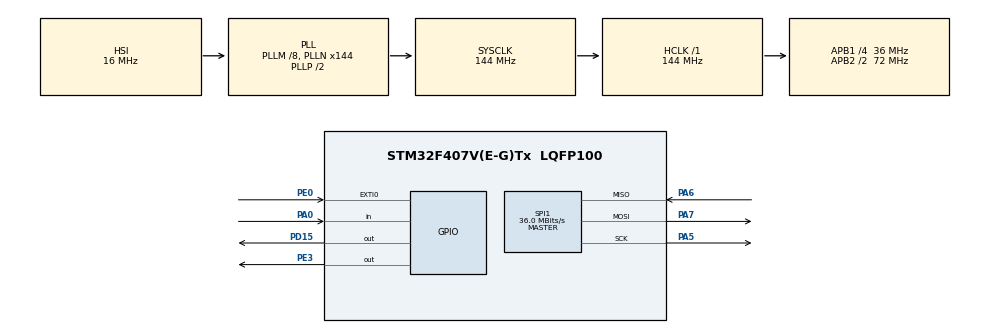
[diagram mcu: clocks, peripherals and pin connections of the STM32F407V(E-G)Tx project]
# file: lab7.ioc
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Mcu.Family=STM32F4
Mcu.Name=STM32F407V(E-G)Tx
Mcu.Package=LQFP100
NVIC.EXTI0_IRQn=true\:0\:0\:false\:false\:true\:true\:true\:true
NVIC.PriorityGroup=NVIC_PRIORITYGROUP_4
PA0-WKUP.Signal=GPIO_Input
PA13.Mode=Serial_Wire
PA13.Signal=SYS_JTMS-SWDIO
PA14.Mode=Serial_Wire
PA14.Signal=SYS_JTCK-SWCLK
PA5.Mode=Full_Duplex_Master
PA5.Signal=SPI1_SCK
PA6.Mode=Full_Duplex_Master
PA6.Signal=SPI1_MISO
PA7.Mode=Full_Duplex_Master
PA7.Signal=SPI1_MOSI
PD15.Signal=GPIO_Output
PE0.Signal=GPXTI0
PE3.Signal=GPIO_Output
ProjectManager.HeapSize=0x200
ProjectManager.StackSize=0x400
ProjectManager.TargetToolchain=STM32CubeIDE
RCC.48MHZClocksFreq_Value=72000000
RCC.AHBFreq_Value=144000000
RCC.APB1CLKDivider=RCC_HCLK_DIV4
RCC.APB1Freq_Value=36000000
RCC.APB1TimFreq_Value=72000000
RCC.APB2CLKDivider=RCC_HCLK_DIV2
RCC.APB2Freq_Value=72000000
RCC.APB2TimFreq_Value=144000000
RCC.CortexFreq_Value=144000000
RCC.HCLKFreq_Value=144000000
RCC.HSE_VALUE=25000000
RCC.HSI_VALUE=16000000
RCC.LSE_VALUE=32768
RCC.PLLM=8
RCC.PLLN=144
RCC.SYSCLKFreq_VALUE=144000000
RCC.SYSCLKSource=RCC_SYSCLKSOURCE_PLLCLK
RCC.VCOOutputFreq_Value=288000000
SPI1.CalculateBaudRate=36.0 MBits/s
SPI1.Direction=SPI_DIRECTION_2LINES
SPI1.Mode=SPI_MODE_MASTER
SPI1.VirtualType=VM_MASTER
board=custom

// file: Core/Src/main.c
/* USER CODE BEGIN Header */
/**
  ******************************************************************************
  * @file           : main.c
  * @brief          : Main program body
  ******************************************************************************
  * @attention
  *
  * Copyright (c) 2026 STMicroelectronics.
  * All rights reserved.
  *
  * This software is licensed under terms that can be found in the LICENSE file
  * in the root directory of this software component.
  * If no LICENSE file comes with this software, it is provided AS-IS.
  *
  ******************************************************************************
  */
/* USER CODE END Header */
#include "main.h"
#include "spi.h"
#include "gpio.h"

/* USER CODE BEGIN Includes */
#include "MY_LIS3DSH.h"
#include <math.h>
#include <stdbool.h>
/* USER CODE END Includes */

/* USER CODE BEGIN PV */
LIS3DSH_InitTypeDef myAccConfigDef;
LIS3DSH_DataScaled currentData;
LIS3DSH_DataScaled prevData;

volatile uint8_t exti_flag = 0;

// Поріг чутливості (мg). Значення, нижчі за поріг, відсікаються як шумові коливання.
#define NOISE_THRESHOLD 150.0f
/* USER CODE END PV */

void SystemClock_Config(void);

int main(void)
{

  /* MCU Configuration--------------------------------------------------------*/

  /* Reset of all peripherals, Initializes the Flash interface and the Systick. */
  HAL_Init();

  /* Configure the system clock */
  SystemClock_Config();

  /* Initialize all configured peripherals */
  MX_GPIO_Init();
  MX_SPI1_Init();
  /* USER CODE BEGIN 2 */
  // Налаштування параметрів акселерометра
    myAccConfigDef.dataRate = LIS3DSH_DATARATE_25;
    myAccConfigDef.fullScale = LIS3DSH_FULLSCALE_4;
    myAccConfigDef.antiAliasingBW = LIS3DSH_FILTER_BW_50;
    myAccConfigDef.enableAxes = LIS3DSH_XYZ_ENABLE;
    myAccConfigDef.interruptEnable = true;

    // Ініціалізація по SPI1
    LIS3DSH_Init(&hspi1, &myAccConfigDef);

    // Калібрування осей X, Y, Z
    LIS3DSH_X_calibrate(-1000.0, 980.0);
    LIS3DSH_Y_calibrate(-1020.0, 1040.0);
    LIS3DSH_Z_calibrate(-920.0, 1040.0);

    // Отримання початкових вимірів для точки відліку
    prevData = LIS3DSH_GetDataScaled();
  /* USER CODE END 2 */

  /* Infinite loop */
  while (1)
  {
	  if (exti_flag == 1)
	      {
	        exti_flag = 0; // Скидання прапорця переривання

	        // Зчитування свіжих даних прискорення по SPI
	        currentData = LIS3DSH_GetDataScaled();

	        // Алгоритм фільтрації шуму: обрахунок відхилення значень між сусідніми вибірками
	        float deltaX = fabsf(currentData.x - prevData.x);
	        float deltaY = fabsf(currentData.y - prevData.y);
	        float deltaZ = fabsf(currentData.z - prevData.z);
	        float totalDelta = deltaX + deltaY + deltaZ;

	        // Якщо амплітуда переміщення більша за шумові флуктуації
	        if (totalDelta > NOISE_THRESHOLD)
	        {
	          HAL_GPIO_WritePin(GPIOD, GPIO_PIN_15, GPIO_PIN_SET); // Засвітити синій LED (PD15)
	        }
	        else
	        {
	          HAL_GPIO_WritePin(GPIOD, GPIO_PIN_15, GPIO_PIN_RESET); // Згасити світлодіод у стані спокою
	        }

	        // Збереження поточної точки для наступного кроку
	        prevData = currentData;
	      }
    /* USER CODE BEGIN 3 */
	  // Оновлення логіки світлодіода для гілки feature-led
	  HAL_GPIO_TogglePin(GPIOD, GPIO_PIN_15);
	  HAL_Delay(200);
  }
  /* USER CODE END 3 */
}

void SystemClock_Config(void)
{
  RCC_OscInitTypeDef RCC_OscInitStruct = {0};
  RCC_ClkInitTypeDef RCC_ClkInitStruct = {0};

  /** Configure the main internal regulator output voltage
  */
  __HAL_RCC_PWR_CLK_ENABLE();
  __HAL_PWR_VOLTAGESCALING_CONFIG(PWR_REGULATOR_VOLTAGE_SCALE1);

  /** Initializes the RCC Oscillators according to the specified parameters
  * in the RCC_OscInitTypeDef structure.
  */
  RCC_OscInitStruct.OscillatorType = RCC_OSCILLATORTYPE_HSI;
  RCC_OscInitStruct.HSIState = RCC_HSI_ON;
  RCC_OscInitStruct.HSICalibrationValue = RCC_HSICALIBRATION_DEFAULT;
  RCC_OscInitStruct.PLL.PLLState = RCC_PLL_ON;
  RCC_OscInitStruct.PLL.PLLSource = RCC_PLLSOURCE_HSI;
  RCC_OscInitStruct.PLL.PLLM = 8;
  RCC_OscInitStruct.PLL.PLLN = 144;
  RCC_OscInitStruct.PLL.PLLP = RCC_PLLP_DIV2;
  RCC_OscInitStruct.PLL.PLLQ = 4;
  if (HAL_RCC_OscConfig(&RCC_OscInitStruct) != HAL_OK)
  {
    Error_Handler();
  }

  /** Initializes the CPU, AHB and APB buses clocks
  */
  RCC_ClkInitStruct.ClockType = RCC_CLOCKTYPE_HCLK|RCC_CLOCKTYPE_SYSCLK
                              |RCC_CLOCKTYPE_PCLK1|RCC_CLOCKTYPE_PCLK2;
  RCC_ClkInitStruct.SYSCLKSource = RCC_SYSCLKSOURCE_PLLCLK;
  RCC_ClkInitStruct.AHBCLKDivider = RCC_SYSCLK_DIV1;
  RCC_ClkInitStruct.APB1CLKDivider = RCC_HCLK_DIV4;
  RCC_ClkInitStruct.APB2CLKDivider = RCC_HCLK_DIV2;

  if (HAL_RCC_ClockConfig(&RCC_ClkInitStruct, FLASH_LATENCY_4) != HAL_OK)
  {
    Error_Handler();
  }
}

/* USER CODE BEGIN 4 */
void HAL_GPIO_EXTI_Callback(uint16_t GPIO_Pin)
{
  if (GPIO_Pin == GPIO_PIN_0) // Переривання з лінії PE0 (LIS3DSH INT1)
  {
    exti_flag = 1;
  }
}
/* USER CODE END 4 */

void Error_Handler(void)
{
  __disable_irq();
  while (1)
  {
  }
}
